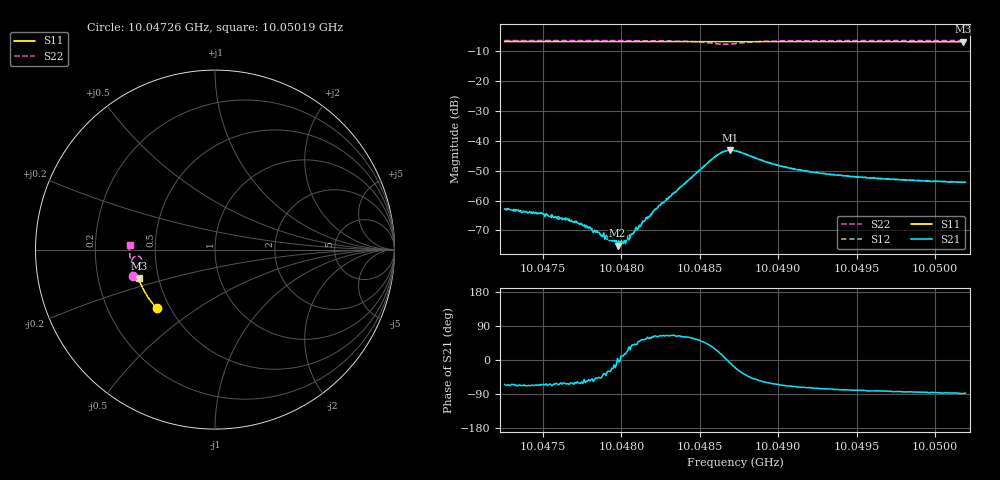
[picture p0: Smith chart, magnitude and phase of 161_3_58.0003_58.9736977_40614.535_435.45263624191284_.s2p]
#  HZ  S  RI  R  50.00
! Rohde & Schwarz Vector Network Analyzer
! Rohde-Schwarz,ZNB20-2Port,1311601062101988,3.16
! Created: UTC 3/21/2024, 12:57:27 AM
! freq[Hz]  re:S11  im:S11  re:S21  im:S21  re:S12  im:S12  re:S22  im:S22
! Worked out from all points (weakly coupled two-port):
!   401 points, 10.04726 GHz to 10.05019 GHz, reference 50 ohm
!   highest |S21| = -43.15 dB at 10.04869 GHz (marker M1); lowest = -75.1 dB at 10.04798 GHz (marker M2)
!   lowest |S11| = -6.8 dB at 10.05018 GHz (marker M3), VSWR 2.67, Z = 19.3 - j7.87 ohm
!   |S11| at or under -10 dB: nowhere
!   |S22| runs from -7.7 to -6.4 dB; largest |S21 - S12| = 0.00045
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1.0047256e10  -0.3256 -0.3255  0.000309 -0.000653  0.000358 -0.000632  -0.4553 -0.1489
1.0047491e10  -0.3362 -0.3138  0.000273 -0.000571  0.000276 -0.000548  -0.4595 -0.1329
1.0047696e10  -0.345 -0.3034  0.000188 -0.000388  0.000224 -0.000375  -0.4629 -0.1183
1.0047748e10  -0.3472 -0.3008  0.000211 -0.000336  0.000252 -0.000325  -0.4636 -0.1146
1.0047792e10  -0.349 -0.2984  0.000209 -0.000269  0.000207 -0.000296  -0.4642 -0.1112
1.0047829e10  -0.3504 -0.2965  0.000198 -0.000253  0.000223 -0.000216  -0.4645 -0.1083
1.004788e10  -0.3525 -0.2938  0.000188 -0.000163  0.000202 -0.000153  -0.4652 -0.1045
1.0047939e10  -0.355 -0.2908  0.000195 -7.87e-05  0.000216 -9.89e-05  -0.4659 -0.0999
1.0047975e10  -0.3564 -0.2889  0.000175 1.42e-05  0.000172 1.68e-05  -0.4661 -0.0968
1.0048012e10  -0.358 -0.287  0.000189 3.53e-05  0.000189 6.43e-05  -0.4665 -0.094
1.0048041e10  -0.359 -0.2854  0.000213 0.000102  0.000232 0.000125  -0.4666 -0.0912
1.0048078e10  -0.3605 -0.2833  0.000221 0.000185  0.000193 0.00021  -0.4668 -0.088
1.004824e10  -0.3669 -0.2747  0.00038 0.000742  0.000306 0.000761  -0.4665 -0.0728
1.0048592e10  -0.3793 -0.2551  0.00457 0.0027  0.00443 0.00298  -0.4255 -0.037
1.0048644e10  -0.3809 -0.2522  0.00632 0.00136  0.00627 0.00176  -0.4107 -0.0493
1.0048695e10  -0.3825 -0.2496  0.00688 -0.00106  0.00697 -0.000649  -0.4093 -0.0702
1.0048724e10  -0.3837 -0.2482  0.0064 -0.00229  0.00657 -0.00194  -0.4157 -0.0798
1.0048996e10  -0.3931 -0.2329  0.00168 -0.0035  0.00191 -0.00346  -0.4649 -0.0669
1.0049216e10  -0.4003 -0.2201  0.000847 -0.00287  0.00101 -0.00285  -0.4727 -0.045
1.0049708e10  -0.4141 -0.1906  0.000277 -0.00228  0.000432 -0.00224  -0.4766 -0.006
1.0050178e10  -0.4253 -0.1619  5.69e-05 -0.00202  0.000186 -0.00203  -0.476 0.0274
1.0050193e10  -0.4256 -0.161  8.03e-05 -0.00202  0.000184 -0.00202  -0.4758 0.0283
